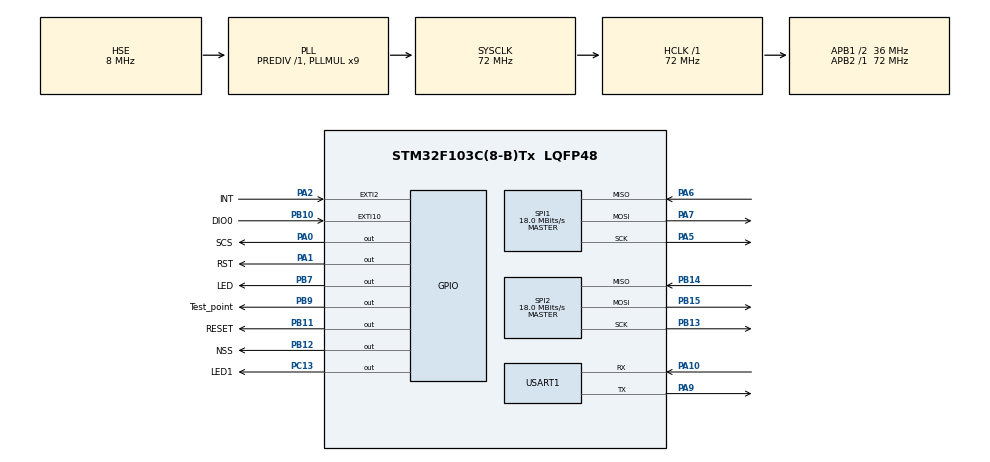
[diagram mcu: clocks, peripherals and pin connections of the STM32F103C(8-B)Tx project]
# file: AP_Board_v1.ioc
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Mcu.Family=STM32F1
Mcu.Name=STM32F103C(8-B)Tx
Mcu.Package=LQFP48
NVIC.EXTI15_10_IRQn=true\:0\:0\:false\:false\:true\:true\:true\:true
NVIC.EXTI2_IRQn=true\:0\:0\:false\:false\:true\:true\:true\:true
NVIC.PriorityGroup=NVIC_PRIORITYGROUP_4
NVIC.TIM1_UP_IRQn=true\:0\:0\:false\:false\:true\:true\:true\:true
NVIC.TIM2_IRQn=true\:0\:0\:false\:false\:true\:true\:true\:true
PA0-WKUP.GPIO_Label=SCS
PA0-WKUP.Signal=GPIO_Output
PA1.GPIO_Label=RST
PA1.Signal=GPIO_Output
PA10.Mode=Asynchronous
PA10.Signal=USART1_RX
PA13.Mode=Serial_Wire
PA13.Signal=SYS_JTMS-SWDIO
PA14.Mode=Serial_Wire
PA14.Signal=SYS_JTCK-SWCLK
PA2.GPIO_Label=INT
PA2.GPIO_ModeDefaultEXTI=GPIO_MODE_IT_RISING
PA2.Signal=GPXTI2
PA5.Mode=Full_Duplex_Master
PA5.Signal=SPI1_SCK
PA6.Mode=Full_Duplex_Master
PA6.Signal=SPI1_MISO
PA7.Mode=Full_Duplex_Master
PA7.Signal=SPI1_MOSI
PA9.Mode=Asynchronous
PA9.Signal=USART1_TX
PB10.GPIO_Label=DIO0
PB10.Signal=GPXTI10
PB11.GPIO_Label=RESET
PB11.Signal=GPIO_Output
PB12.GPIO_Label=NSS
PB12.Signal=GPIO_Output
PB13.Mode=Full_Duplex_Master
PB13.Signal=SPI2_SCK
PB14.Mode=Full_Duplex_Master
PB14.Signal=SPI2_MISO
PB15.Mode=Full_Duplex_Master
PB15.Signal=SPI2_MOSI
PB7.GPIO_Label=LED
PB7.Signal=GPIO_Output
PB9.GPIO_Label=Test_point
PB9.GPIO_Speed=GPIO_SPEED_FREQ_HIGH
PB9.Signal=GPIO_Output
PC13-TAMPER-RTC.GPIO_Label=LED1
PC13-TAMPER-RTC.Signal=GPIO_Output
PD0-OSC_IN.Mode=HSE-External-Oscillator
PD0-OSC_IN.Signal=RCC_OSC_IN
PD1-OSC_OUT.Mode=HSE-External-Oscillator
PD1-OSC_OUT.Signal=RCC_OSC_OUT
ProjectManager.HeapSize=0x200
ProjectManager.StackSize=0x400
ProjectManager.TargetToolchain=MDK-ARM V5.32
RCC.AHBFreq_Value=72000000
RCC.APB1CLKDivider=RCC_HCLK_DIV2
RCC.APB1Freq_Value=36000000
RCC.APB1TimFreq_Value=72000000
RCC.APB2Freq_Value=72000000
RCC.APB2TimFreq_Value=72000000
RCC.HCLKFreq_Value=72000000
RCC.PLLMUL=RCC_PLL_MUL9
RCC.PLLSourceVirtual=RCC_PLLSOURCE_HSE
RCC.SYSCLKFreq_VALUE=72000000
RCC.SYSCLKSource=RCC_SYSCLKSOURCE_PLLCLK
RCC.USBFreq_Value=72000000
SPI1.BaudRatePrescaler=SPI_BAUDRATEPRESCALER_4
SPI1.CalculateBaudRate=18.0 MBits/s
SPI1.Direction=SPI_DIRECTION_2LINES
SPI1.Mode=SPI_MODE_MASTER
SPI1.VirtualType=VM_MASTER
SPI2.CalculateBaudRate=18.0 MBits/s
SPI2.Direction=SPI_DIRECTION_2LINES
SPI2.Mode=SPI_MODE_MASTER
SPI2.VirtualType=VM_MASTER
TIM1.Period=999
TIM1.Prescaler=71
TIM2.AutoReloadPreload=TIM_AUTORELOAD_PRELOAD_ENABLE
TIM2.Prescaler=71
USART1.VirtualMode=VM_ASYNC
VP_TIM1_VS_ClockSourceINT.Mode=Internal
VP_TIM2_VS_ClockSourceINT.Mode=Internal
board=custom

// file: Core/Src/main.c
/* USER CODE BEGIN Header */
/**
  ******************************************************************************
  * @file           : main.c
  * @brief          : Main program body
  ******************************************************************************
  * @attention
  *
  * Copyright (c) 2024 STMicroelectronics.
  * All rights reserved.
  *
  * This software is licensed under terms that can be found in the LICENSE file
  * in the root directory of this software component.
  * If no LICENSE file comes with this software, it is provided AS-IS.
  *
  ******************************************************************************
  */
/* USER CODE END Header */
#include "main.h"

/* USER CODE BEGIN Includes */
#include "socket.h"
#include "wizchip_conf.h"
#include "w5500.h"
#include "w5500_spi.h"
#include "data_process.h"

#include <stdarg.h>
#include <string.h>
#include <stdlib.h>

#include <Lora.h>

/* USER CODE END Includes */

SPI_HandleTypeDef hspi1;
SPI_HandleTypeDef hspi2;

TIM_HandleTypeDef htim1;
TIM_HandleTypeDef htim2;

UART_HandleTypeDef huart1;

/* USER CODE BEGIN PV */
	char TX_toPC[DATA_BUF_SIZE];
	char RX_fromPC[DATA_BUF_SIZE];

	uint8_t des_ip[] = {192,168,1,100};
	uint16_t des_port = 1111;

	LoRa myLoRa;
	char TX_toRobot[DATA_BUF_SIZE];
	char RX_fromRobot[DATA_BUF_SIZE];

	uint32_t k = 0;
	uint32_t ind = 0;

	uint8_t flag_rx = 0;
	uint8_t have_cmd = 0, cmd = 0;
	uint8_t res = 0;
	uint16_t flag_led = 0;
	uint16_t flag_check_sr = 0;
	uint16_t toggle = 0;

	uint32_t time_tick = 0;
	uint32_t start = 0, s=0;
	uint32_t end = 0, e=0;
	uint32_t time = 0, t=0;

	uint16_t result = 0;

	uint8_t auto_trans = 0;
	uint8_t check_trans = 0xCC;

	uint8_t result_send = 0;

	uint16_t num_receive = 0;

	uint32_t tick_debug = 0;

	uint16_t flag_send = 0;

	uint16_t dagui = 0;
	uint16_t danhan = 0;
	uint16_t gui_dung = 0;

	uint8_t flag_get_mode = 0;
	uint8_t check_regMode = 0x00;

	uint8_t flag_send_FSK = 0;
	uint8_t check_trans_FSK = 0;

	uint8_t check_rx = 0;

/* USER CODE END PV */

void SystemClock_Config(void);
static void MX_GPIO_Init(void);
static void MX_SPI1_Init(void);
static void MX_USART1_UART_Init(void);
static void MX_TIM1_Init(void);
static void MX_SPI2_Init(void);
static void MX_TIM2_Init(void);

/* USER CODE BEGIN 0 */
	void my_printf(const char* format, ...) {
//    va_list args;
//    va_start(args, format);

//    char buffer[256];
//    vsnprintf(buffer, sizeof(buffer), format, args);

//    // Gui du lieu qua UART
//    //HAL_UART_Transmit(&huart1, (uint8_t*)buffer, strlen(buffer), HAL_MAX_DELAY);

//    va_end(args);
	}
	/*----------------------------------------------------*/
	void HAL_GPIO_EXTI_Callback(uint16_t GPIO_Pin) {
    if(GPIO_Pin == INT_Pin){
			//k++;
    }
		if(GPIO_Pin == myLoRa.DIO0_pin){
			k++;
			flag_rx = 1;
		}
	}
	/*----------------------------------------------------*/
	void HAL_TIM_PeriodElapsedCallback(TIM_HandleTypeDef *htim)
	{
		/* Prevent unused argument(s) compilation warning */
		UNUSED(htim);

		if (htim->Instance == htim1.Instance){ 	// every 1ms
      flag_led++;
			flag_check_sr = 1;
			if(++flag_send >= 1000){
				flag_send = 0;
				//auto_trans = 1;
			}
    }
		if (htim->Instance == htim2.Instance){ 	// every 1us
      time_tick++;
			HAL_GPIO_TogglePin(Test_point_GPIO_Port, Test_point_Pin);
    }
	}

/* USER CODE END 0 */

int main(void)
{

  /* MCU Configuration--------------------------------------------------------*/

  /* Reset of all peripherals, Initializes the Flash interface and the Systick. */
  HAL_Init();

  /* Configure the system clock */
  SystemClock_Config();

  /* Initialize all configured peripherals */
  MX_GPIO_Init();
  MX_SPI1_Init();
  MX_USART1_UART_Init();
  MX_TIM1_Init();
  MX_SPI2_Init();
  MX_TIM2_Init();
  /* USER CODE BEGIN 2 */
		memset(RX_fromPC, 0x00, DATA_BUF_SIZE);
		memset(TX_toPC, 0x00, DATA_BUF_SIZE);
		HAL_GPIO_WritePin(LED_GPIO_Port, LED_Pin, GPIO_PIN_RESET);

		/*********************************
		 *				Init for W5500
		 *********************************/
		w5500_Init();
		/***w5500_Config only use once when set IP and port***/
		//w5500_Config();

		/*----------------------------------------*/
		/***Make a Server and open a listening port***/
		if(socket(1,Sn_MR_UDP, 1111, 0) != 1){
			my_printf("\r\n Cannot create socket!");
			toggle = 2000;
		}
		else{
			toggle = 1000;
			my_printf("\r\nSocket Created Successdully!\r\n");
			uint8_t socket_io_mode =SOCK_IO_BLOCK;
			ctlsocket(1,CS_SET_IOMODE,&socket_io_mode);
			my_printf("Start listening on port %d \r\n",100);
			my_printf("Waiting for a client connection... \r\n");
		}
		uint8_t sr = 0x00;

		/*********************************
		 *				Init for LoRa
		 *********************************/
		Lora_Init(&myLoRa, &hspi2, 895);
		LoRa_reset(&myLoRa);
		result = LoRa_Config(&myLoRa);

		//result = FSK_Config(&myLoRa);

		/*Start continuous receiving*/
		LoRa_startReceiving(&myLoRa);
		//FSK_startTrasmiting(&myLoRa);

		memset(TX_toRobot, 0x00, DATA_BUF_SIZE);
		memset(RX_fromRobot, 0x00, DATA_BUF_SIZE);

		HAL_TIM_Base_Start_IT(&htim1);
		HAL_TIM_Base_Start_IT(&htim2);

  /* USER CODE END 2 */

  /* Infinite loop */
  while (1)
  {

    /* USER CODE BEGIN 3 */
		tick_debug++;

//		sr = getSn_SR(1);		//16us
//		if(sr == 0x00){		// do not have any client
//			toggle = 1000;
//		}
//
//		if(sr == 0x22){				// 0x17 if TCP, 0x22 if UDP
//			toggle = 100;		// have a client
//
//			/*Receiving request/commmed from PC and transmit to robot*/
//			//have_cmd = recv(1, (uint8_t *)RX_fromPC, DATA_BUF_SIZE);		// TCP
//
//			have_cmd = recv_udp(1, (uint8_t *)RX_fromPC, DATA_BUF_SIZE, des_ip, &des_port); 		//UDP		//35us
//
//
//			if(have_cmd){
//				have_cmd = 0;
//
//				for(uint8_t i=0; i<DATA_BUF_SIZE; i++)
//					TX_toPC[i] = RX_fromPC[i];
//				sendto(1, (uint8_t *)TX_toPC, DATA_BUF_SIZE, des_ip, des_port);		//UDP		290us

//				cmd = check_RX((uint8_t*)RX_fromPC, (uint8_t*)TX_toRobot);
//
//				if(cmd == MESS_OK){
//					/*send to robot*/
//					LoRa_transmit(&myLoRa, (uint8_t*)TX_toRobot, DATA_BUF_SIZE, 15);		// 0028s

//				}
//				else;
//					memset(RX_fromPC, 0x00, DATA_BUF_SIZE);
//					memset(TX_toPC, 0x00, DATA_BUF_SIZE);
//			}

//			}
		/*_______________________________________________________________________________*/
									/*Receiving response from robot and transmit to PC*/
		/*_______________________________________________________________________________*/

			if(flag_rx == 1){
				flag_rx = 0;

				check_rx =	LoRa_receive(&myLoRa, (uint8_t*)RX_fromRobot, DATA_BUF_SIZE);		//400us

				if(check_rx == 12){
					danhan++;
					end = time_tick*65536 + __HAL_TIM_GetCounter(&htim2);
					time = end - start;
				}

				if(RX_fromRobot[DATA_BUF_SIZE-2] == TX_toRobot[DATA_BUF_SIZE-2] && RX_fromRobot[DATA_BUF_SIZE-1] == TX_toRobot[DATA_BUF_SIZE-1])
					gui_dung++;

//				res = check_RX((uint8_t*)RX_fromRobot, (uint8_t*)TX_toPC);

//				if(res == MESS_OK){
//					sendto(1, (uint8_t *)TX_toPC, DATA_BUF_SIZE, des_ip, des_port);		//UDP		290us

//				}
//				memset(RX_fromRobot, 0x00, DATA_BUF_SIZE);
//				memset(TX_toPC, 0x00, DATA_BUF_SIZE);
			}

		/*_______________________________________________________________________________*/
			if(flag_led >= toggle){
				flag_led = 0;
				HAL_GPIO_TogglePin(LED_GPIO_Port, LED_Pin);
				if(listen(1) != SOCK_OK){
					//my_printf("Cannot listen on port! %d", 1000);
					toggle = 1000;
				}
			}

			if(auto_trans == 1){
				auto_trans = 0;
				TX_toRobot[0] = 0xFF;
				for(uint8_t i=1; i< DATA_BUF_SIZE-2; i++)
					TX_toRobot[i] = i;

				TX_toRobot[DATA_BUF_SIZE-2] = rand() % 100;
				TX_toRobot[DATA_BUF_SIZE-1] = rand() % 100;

				check_trans = LoRa_transmit(&myLoRa, (uint8_t*)TX_toRobot, DATA_BUF_SIZE, 1000);

				if(check_trans){
					dagui++;
					start = time_tick*65536 + __HAL_TIM_GetCounter(&htim2);
				}

			}

//			if(flag_send_FSK){
//				flag_send_FSK = 0;
//				TX_toRobot[0] = 0xFF;
//				for(uint8_t i=1; i< DATA_BUF_SIZE-2; i++)
//					TX_toRobot[i] = i;
//
//				TX_toRobot[DATA_BUF_SIZE-2] = rand() % 100;
//				TX_toRobot[DATA_BUF_SIZE-1] = rand() % 100;
//
//				//check_trans_FSK = FSK_transmit(&myLoRa, (uint8_t*)TX_toRobot, DATA_BUF_SIZE, 1000);
//				check_trans_FSK = LoRa_transmit(&myLoRa, (uint8_t*)TX_toRobot, DATA_BUF_SIZE, 1000);
//			}

			if(flag_get_mode){
				flag_get_mode = 0;
				check_regMode = LoRa_read(&myLoRa, RegOpMode);
			}

//			start = time_tick*65536 + __HAL_TIM_GetCounter(&htim2);
//			end = time_tick*65536 + __HAL_TIM_GetCounter(&htim2);
//			time = end - start;
  }
  /* USER CODE END 3 */
}

void SystemClock_Config(void)
{
  RCC_OscInitTypeDef RCC_OscInitStruct = {0};
  RCC_ClkInitTypeDef RCC_ClkInitStruct = {0};

  /** Initializes the RCC Oscillators according to the specified parameters
  * in the RCC_OscInitTypeDef structure.
  */
  RCC_OscInitStruct.OscillatorType = RCC_OSCILLATORTYPE_HSE;
  RCC_OscInitStruct.HSEState = RCC_HSE_ON;
  RCC_OscInitStruct.HSEPredivValue = RCC_HSE_PREDIV_DIV1;
  RCC_OscInitStruct.HSIState = RCC_HSI_ON;
  RCC_OscInitStruct.PLL.PLLState = RCC_PLL_ON;
  RCC_OscInitStruct.PLL.PLLSource = RCC_PLLSOURCE_HSE;
  RCC_OscInitStruct.PLL.PLLMUL = RCC_PLL_MUL9;
  if (HAL_RCC_OscConfig(&RCC_OscInitStruct) != HAL_OK)
  {
    Error_Handler();
  }

  /** Initializes the CPU, AHB and APB buses clocks
  */
  RCC_ClkInitStruct.ClockType = RCC_CLOCKTYPE_HCLK|RCC_CLOCKTYPE_SYSCLK
                              |RCC_CLOCKTYPE_PCLK1|RCC_CLOCKTYPE_PCLK2;
  RCC_ClkInitStruct.SYSCLKSource = RCC_SYSCLKSOURCE_PLLCLK;
  RCC_ClkInitStruct.AHBCLKDivider = RCC_SYSCLK_DIV1;
  RCC_ClkInitStruct.APB1CLKDivider = RCC_HCLK_DIV2;
  RCC_ClkInitStruct.APB2CLKDivider = RCC_HCLK_DIV1;

  if (HAL_RCC_ClockConfig(&RCC_ClkInitStruct, FLASH_LATENCY_2) != HAL_OK)
  {
    Error_Handler();
  }
}

static void MX_SPI1_Init(void)
{

  /* SPI1 parameter configuration*/
  hspi1.Instance = SPI1;
  hspi1.Init.Mode = SPI_MODE_MASTER;
  hspi1.Init.Direction = SPI_DIRECTION_2LINES;
  hspi1.Init.DataSize = SPI_DATASIZE_8BIT;
  hspi1.Init.CLKPolarity = SPI_POLARITY_LOW;
  hspi1.Init.CLKPhase = SPI_PHASE_1EDGE;
  hspi1.Init.NSS = SPI_NSS_SOFT;
  hspi1.Init.BaudRatePrescaler = SPI_BAUDRATEPRESCALER_4;
  hspi1.Init.FirstBit = SPI_FIRSTBIT_MSB;
  hspi1.Init.TIMode = SPI_TIMODE_DISABLE;
  hspi1.Init.CRCCalculation = SPI_CRCCALCULATION_DISABLE;
  hspi1.Init.CRCPolynomial = 10;
  if (HAL_SPI_Init(&hspi1) != HAL_OK)
  {
    Error_Handler();
  }

}

static void MX_SPI2_Init(void)
{

  /* SPI2 parameter configuration*/
  hspi2.Instance = SPI2;
  hspi2.Init.Mode = SPI_MODE_MASTER;
  hspi2.Init.Direction = SPI_DIRECTION_2LINES;
  hspi2.Init.DataSize = SPI_DATASIZE_8BIT;
  hspi2.Init.CLKPolarity = SPI_POLARITY_LOW;
  hspi2.Init.CLKPhase = SPI_PHASE_1EDGE;
  hspi2.Init.NSS = SPI_NSS_SOFT;
  hspi2.Init.BaudRatePrescaler = SPI_BAUDRATEPRESCALER_2;
  hspi2.Init.FirstBit = SPI_FIRSTBIT_MSB;
  hspi2.Init.TIMode = SPI_TIMODE_DISABLE;
  hspi2.Init.CRCCalculation = SPI_CRCCALCULATION_DISABLE;
  hspi2.Init.CRCPolynomial = 10;
  if (HAL_SPI_Init(&hspi2) != HAL_OK)
  {
    Error_Handler();
  }

}

static void MX_TIM1_Init(void)
{

  TIM_ClockConfigTypeDef sClockSourceConfig = {0};
  TIM_MasterConfigTypeDef sMasterConfig = {0};

  htim1.Instance = TIM1;
  htim1.Init.Prescaler = 71;
  htim1.Init.CounterMode = TIM_COUNTERMODE_UP;
  htim1.Init.Period = 999;
  htim1.Init.ClockDivision = TIM_CLOCKDIVISION_DIV1;
  htim1.Init.RepetitionCounter = 0;
  htim1.Init.AutoReloadPreload = TIM_AUTORELOAD_PRELOAD_DISABLE;
  if (HAL_TIM_Base_Init(&htim1) != HAL_OK)
  {
    Error_Handler();
  }
  sClockSourceConfig.ClockSource = TIM_CLOCKSOURCE_INTERNAL;
  if (HAL_TIM_ConfigClockSource(&htim1, &sClockSourceConfig) != HAL_OK)
  {
    Error_Handler();
  }
  sMasterConfig.MasterOutputTrigger = TIM_TRGO_RESET;
  sMasterConfig.MasterSlaveMode = TIM_MASTERSLAVEMODE_DISABLE;
  if (HAL_TIMEx_MasterConfigSynchronization(&htim1, &sMasterConfig) != HAL_OK)
  {
    Error_Handler();
  }

}

static void MX_TIM2_Init(void)
{

  TIM_ClockConfigTypeDef sClockSourceConfig = {0};
  TIM_MasterConfigTypeDef sMasterConfig = {0};

  htim2.Instance = TIM2;
  htim2.Init.Prescaler = 71;
  htim2.Init.CounterMode = TIM_COUNTERMODE_UP;
  htim2.Init.Period = 65535;
  htim2.Init.ClockDivision = TIM_CLOCKDIVISION_DIV1;
  htim2.Init.AutoReloadPreload = TIM_AUTORELOAD_PRELOAD_ENABLE;
  if (HAL_TIM_Base_Init(&htim2) != HAL_OK)
  {
    Error_Handler();
  }
  sClockSourceConfig.ClockSource = TIM_CLOCKSOURCE_INTERNAL;
  if (HAL_TIM_ConfigClockSource(&htim2, &sClockSourceConfig) != HAL_OK)
  {
    Error_Handler();
  }
  sMasterConfig.MasterOutputTrigger = TIM_TRGO_RESET;
  sMasterConfig.MasterSlaveMode = TIM_MASTERSLAVEMODE_DISABLE;
  if (HAL_TIMEx_MasterConfigSynchronization(&htim2, &sMasterConfig) != HAL_OK)
  {
    Error_Handler();
  }

}

static void MX_USART1_UART_Init(void)
{

  huart1.Instance = USART1;
  huart1.Init.BaudRate = 115200;
  huart1.Init.WordLength = UART_WORDLENGTH_8B;
  huart1.Init.StopBits = UART_STOPBITS_1;
  huart1.Init.Parity = UART_PARITY_NONE;
  huart1.Init.Mode = UART_MODE_TX_RX;
  huart1.Init.HwFlowCtl = UART_HWCONTROL_NONE;
  huart1.Init.OverSampling = UART_OVERSAMPLING_16;
  if (HAL_UART_Init(&huart1) != HAL_OK)
  {
    Error_Handler();
  }

}

static void MX_GPIO_Init(void)
{
  GPIO_InitTypeDef GPIO_InitStruct = {0};

  /* GPIO Ports Clock Enable */
  __HAL_RCC_GPIOC_CLK_ENABLE();
  __HAL_RCC_GPIOD_CLK_ENABLE();
  __HAL_RCC_GPIOA_CLK_ENABLE();
  __HAL_RCC_GPIOB_CLK_ENABLE();

  /*Configure GPIO pin Output Level */
  HAL_GPIO_WritePin(LED1_GPIO_Port, LED1_Pin, GPIO_PIN_RESET);

  /*Configure GPIO pin Output Level */
  HAL_GPIO_WritePin(GPIOA, SCS_Pin|RST_Pin, GPIO_PIN_RESET);

  /*Configure GPIO pin Output Level */
  HAL_GPIO_WritePin(GPIOB, RESET_Pin|NSS_Pin|LED_Pin|Test_point_Pin, GPIO_PIN_RESET);

  /*Configure GPIO pin : LED1_Pin */
  GPIO_InitStruct.Pin = LED1_Pin;
  GPIO_InitStruct.Mode = GPIO_MODE_OUTPUT_PP;
  GPIO_InitStruct.Pull = GPIO_NOPULL;
  GPIO_InitStruct.Speed = GPIO_SPEED_FREQ_LOW;
  HAL_GPIO_Init(LED1_GPIO_Port, &GPIO_InitStruct);

  /*Configure GPIO pins : SCS_Pin RST_Pin */
  GPIO_InitStruct.Pin = SCS_Pin|RST_Pin;
  GPIO_InitStruct.Mode = GPIO_MODE_OUTPUT_PP;
  GPIO_InitStruct.Pull = GPIO_NOPULL;
  GPIO_InitStruct.Speed = GPIO_SPEED_FREQ_LOW;
  HAL_GPIO_Init(GPIOA, &GPIO_InitStruct);

  /*Configure GPIO pin : INT_Pin */
  GPIO_InitStruct.Pin = INT_Pin;
  GPIO_InitStruct.Mode = GPIO_MODE_IT_RISING;
  GPIO_InitStruct.Pull = GPIO_NOPULL;
  HAL_GPIO_Init(INT_GPIO_Port, &GPIO_InitStruct);

  /*Configure GPIO pin : DIO0_Pin */
  GPIO_InitStruct.Pin = DIO0_Pin;
  GPIO_InitStruct.Mode = GPIO_MODE_IT_RISING;
  GPIO_InitStruct.Pull = GPIO_NOPULL;
  HAL_GPIO_Init(DIO0_GPIO_Port, &GPIO_InitStruct);

  /*Configure GPIO pins : RESET_Pin NSS_Pin LED_Pin */
  GPIO_InitStruct.Pin = RESET_Pin|NSS_Pin|LED_Pin;
  GPIO_InitStruct.Mode = GPIO_MODE_OUTPUT_PP;
  GPIO_InitStruct.Pull = GPIO_NOPULL;
  GPIO_InitStruct.Speed = GPIO_SPEED_FREQ_LOW;
  HAL_GPIO_Init(GPIOB, &GPIO_InitStruct);

  /*Configure GPIO pin : Test_point_Pin */
  GPIO_InitStruct.Pin = Test_point_Pin;
  GPIO_InitStruct.Mode = GPIO_MODE_OUTPUT_PP;
  GPIO_InitStruct.Pull = GPIO_NOPULL;
  GPIO_InitStruct.Speed = GPIO_SPEED_FREQ_HIGH;
  HAL_GPIO_Init(Test_point_GPIO_Port, &GPIO_InitStruct);

  /* EXTI interrupt init*/
  HAL_NVIC_SetPriority(EXTI2_IRQn, 0, 0);
  HAL_NVIC_EnableIRQ(EXTI2_IRQn);

  HAL_NVIC_SetPriority(EXTI15_10_IRQn, 0, 0);
  HAL_NVIC_EnableIRQ(EXTI15_10_IRQn);

}

void Error_Handler(void)
{
  __disable_irq();
  while (1)
  {
  }
}
